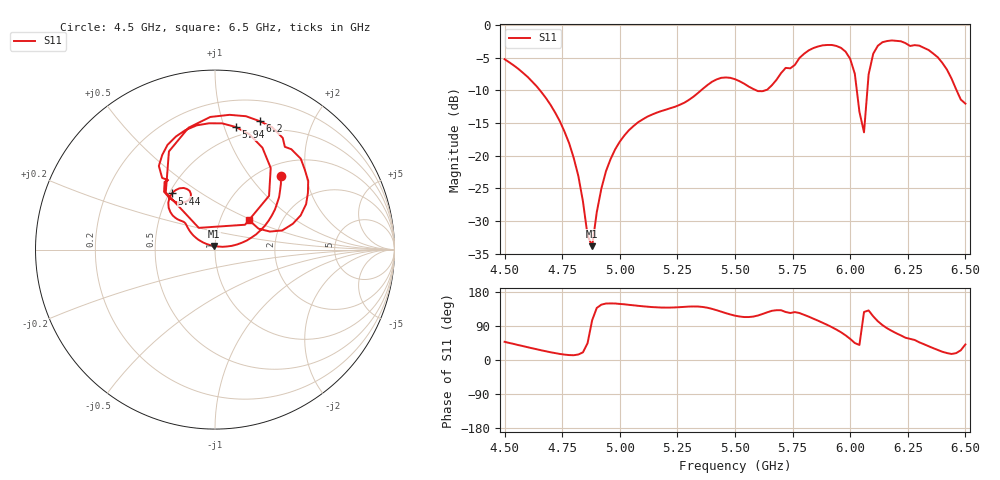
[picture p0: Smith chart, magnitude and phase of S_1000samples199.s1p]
! TOUCHSTONE file generated by CST MICROWAVE STUDIO
! Date and time: Thu Oct 27 08:39:15 2022
! Project name: L.cst
! Parameters = {Di=1.27; Epsilon_r=1.56; InnerDiameter=1.27; Length=2; Lf=10; Lg=60; OuterConductorThickness=0.2921; OuterDiameter=3.6; Wf=3; Wp=41.2; de=1.5; df=6.8; g=0.8; gx=2.58173; gy=1.72441; h=2.34; hf=1.524; px=14.5855; py=11.819; w=9.7; wx=12.0038; wy=10.0946}
! Header version: 2018
! Port assignment regex: !\s*Touchstone port\s*([0-9]+)\s*=\s*(CST MWS port|CST DS port)\s*([0-9]+|Zmin|Zmax)\s*\(\"(.*)\"\)(\s*mode\s*([0-9]+))?.*
! Touchstone port assignment:
! Touchstone port 1 = CST MWS port 1 ("")
# GHz S DB R 50
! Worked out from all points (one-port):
!   101 points, 4.5 GHz to 6.5 GHz, reference 50 ohm
!   lowest |S11| = -33.8 dB at 4.88 GHz (marker M1), VSWR 1.04, Z = 49.4 + j1.94 ohm
!   |S11| at or under -10 dB: 4.654 GHz to 5.352 GHz (698.5 MHz wide, 14 % of centre); 5.593 GHz to 5.63 GHz (36.74 MHz wide, 0.655 % of centre); 6.029 GHz to 6.074 GHz (45.65 MHz wide, 0.754 % of centre) (the widest 3 of 4)
!   S11 on the Smith chart (normalised r, x): 4.5 GHz: 1.23, +1.44; 5.44 GHz: 0.52, +0.38; 5.94 GHz: 0.42, +1.10; 6.2 GHz: 0.40, +1.34; 6.5 GHz: 1.37, +0.48
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4.5  -5.22 48.0
4.64  -9.40 28.3
4.76  -16.31 14.2
4.82  -23.09 14.5
4.86  -32.19 44.3
4.88  -33.84 105.0
4.92  -25.02 146.1
5  -17.84 147.9
5.1  -14.42 141.7
5.26  -12.20 139.4
5.44  -8.07 127.6
5.5  -8.28 117.0
5.62  -10.12 121.6
5.76  -6.09 126.4
5.86  -3.27 103.9
5.94  -3.19 80.3
6  -5.18 55.7
6.02  -7.44 44.8
6.04  -13.26 39.6
6.06  -16.41 126.7
6.08  -7.54 130.8
6.1  -4.38 115.1
6.14  -2.62 92.0
6.2  -2.41 70.6
6.26  -3.19 55.8
6.38  -4.92 26.5
6.44  -8.20 15.9
6.5  -12.02 41.1
